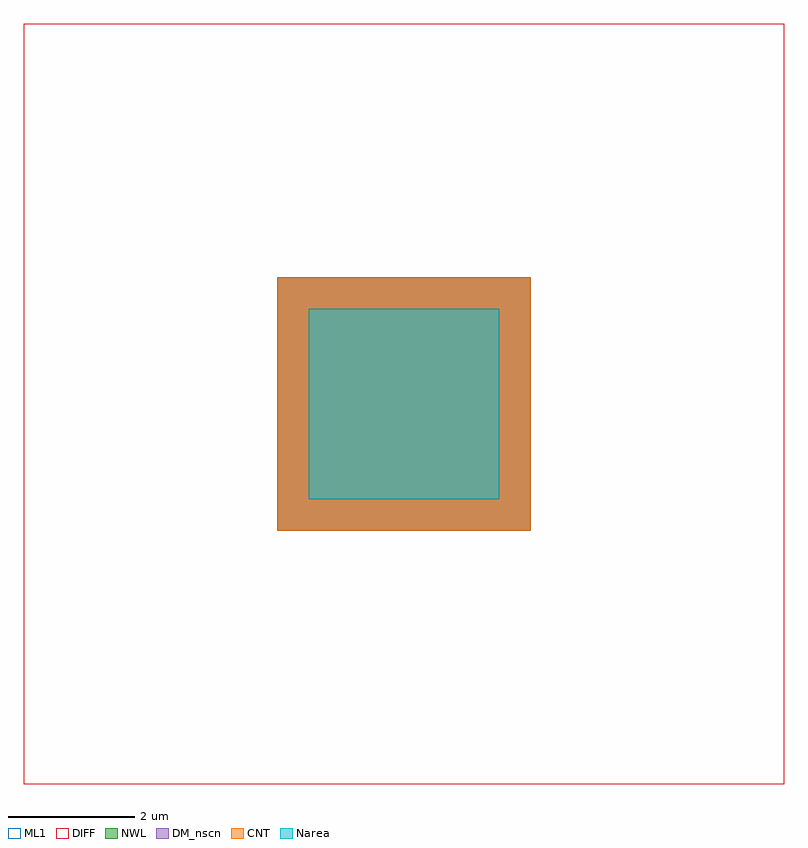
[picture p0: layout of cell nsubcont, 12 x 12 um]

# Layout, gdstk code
import gdstk
lib = gdstk.Library(unit=1e-6, precision=1e-09)
def R(c, l, rs):  # rectangles x0, y0, x1, y1
    for r in rs: c.add(gdstk.rectangle(r[:2], r[2:], *l))
NWL = (1, 0)
DIFF = (3, 0)
CNT = (7, 0)
ML1 = (8, 0)
Narea = (19, 0)
DM_nscn = (103, 0)

dcnt = lib.new_cell('DCNT')
R(dcnt, DIFF, [(-6,-6,6,6)])
R(dcnt, CNT, [(-2,-2,2,2)])
R(dcnt, ML1, [(-6,-6,6,6)])

nsubcont = lib.new_cell('nsubcont')
R(nsubcont, NWL, [(-2,-2,2,2)])
R(nsubcont, Narea, [(-1.5,-1.5,1.5,1.5)])
R(nsubcont, DM_nscn, [(-2,-2,2,2)])
nsubcont.add(gdstk.Reference(dcnt, (0,0)))

lib.write_gds('nsubcont.gds')
